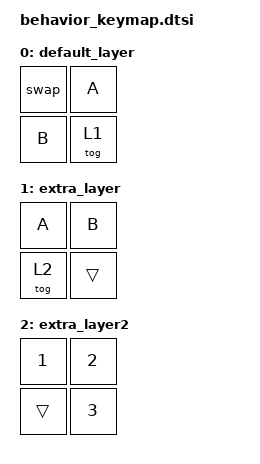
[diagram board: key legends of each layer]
#include <dt-bindings/zmk/keys.h>
#include <behaviors.dtsi>
#include <dt-bindings/zmk/kscan_mock.h>

/ {
	behaviors {
        swap: swap {
            compatible = "zmk,behavior-triplex";
            label = "SWAPPER";
            #binding-cells = <0>;
            bindings = <&kt LALT>, <&kp TAB>, <&kt LALT>;
            shared-key-positions = <2 3>;
            shared-layers = <1>;
        };
    };

	keymap {
		compatible = "zmk,keymap";
		label ="Default keymap";

		default_layer {
			bindings = <
				&swap    &kp A
				&kp B    &tog 1>;
		};

		extra_layer {
			bindings = <
				&kp A     &kp B
				&tog 2    &trans>;
		};

		extra_layer2 {
			bindings = <
				&kp N1    &kp N2
				&trans     &kp N3>;
		};
	};
};
